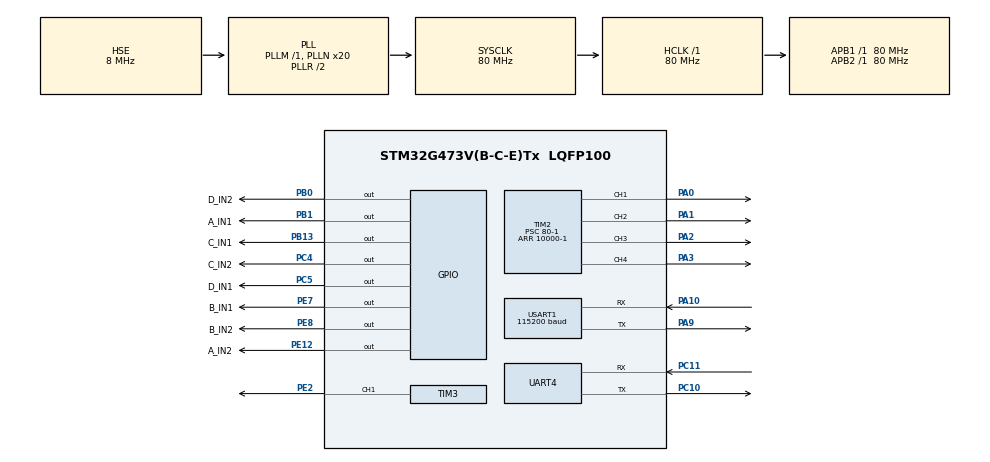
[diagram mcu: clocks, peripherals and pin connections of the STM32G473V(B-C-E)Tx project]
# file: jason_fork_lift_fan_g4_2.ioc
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Mcu.Family=STM32G4
Mcu.Name=STM32G473V(B-C-E)Tx
Mcu.Package=LQFP100
NVIC.PriorityGroup=NVIC_PRIORITYGROUP_4
PA0.Signal=S_TIM2_CH1
PA1.Signal=S_TIM2_CH2
PA10.Mode=Asynchronous
PA10.Signal=USART1_RX
PA13.Mode=Serial_Wire
PA13.Signal=SYS_JTMS-SWDIO
PA14.Mode=Serial_Wire
PA14.Signal=SYS_JTCK-SWCLK
PA2.Signal=S_TIM2_CH3
PA3.Signal=S_TIM2_CH4
PA9.Mode=Asynchronous
PA9.Signal=USART1_TX
PB0.GPIO_Label=D_IN2
PB0.Signal=GPIO_Output
PB1.GPIO_Label=A_IN1
PB1.Signal=GPIO_Output
PB13.GPIO_Label=C_IN1
PB13.Signal=GPIO_Output
PC10.Mode=Asynchronous
PC10.Signal=UART4_TX
PC11.Mode=Asynchronous
PC11.Signal=UART4_RX
PC14-OSC32_IN.Mode=LSE-External-Oscillator
PC14-OSC32_IN.Signal=RCC_OSC32_IN
PC15-OSC32_OUT.Mode=LSE-External-Oscillator
PC15-OSC32_OUT.Signal=RCC_OSC32_OUT
PC4.GPIO_Label=C_IN2
PC4.Signal=GPIO_Output
PC5.GPIO_Label=D_IN1
PC5.Signal=GPIO_Output
PE12.GPIO_Label=A_IN2
PE12.Signal=GPIO_Output
PE2.Signal=S_TIM3_CH1
PE7.GPIO_Label=B_IN1
PE7.Signal=GPIO_Output
PE8.GPIO_Label=B_IN2
PE8.Signal=GPIO_Output
PF0-OSC_IN.Mode=HSE-External-Oscillator
PF0-OSC_IN.Signal=RCC_OSC_IN
PF1-OSC_OUT.Mode=HSE-External-Oscillator
PF1-OSC_OUT.Signal=RCC_OSC_OUT
ProjectManager.HeapSize=0x200
ProjectManager.StackSize=0x400
ProjectManager.TargetToolchain=STM32CubeIDE
RCC.ADC12Freq_Value=80000000
RCC.ADC345Freq_Value=80000000
RCC.AHBFreq_Value=80000000
RCC.APB1Freq_Value=80000000
RCC.APB1TimFreq_Value=80000000
RCC.APB2Freq_Value=80000000
RCC.APB2TimFreq_Value=80000000
RCC.CortexFreq_Value=80000000
RCC.EXTERNAL_CLOCK_VALUE=12288000
RCC.HCLKFreq_Value=80000000
RCC.HSE_VALUE=8000000
RCC.HSI48_VALUE=48000000
RCC.HSI_VALUE=16000000
RCC.PLLN=20
RCC.PLLSourceVirtual=RCC_PLLSOURCE_HSE
RCC.SYSCLKFreq_VALUE=80000000
RCC.SYSCLKSource=RCC_SYSCLKSOURCE_PLLCLK
RCC.USBFreq_Value=80000000
RCC.VCOOutputFreq_Value=160000000
SH.S_TIM2_CH1.0=TIM2_CH1,PWM Generation1 CH1
SH.S_TIM2_CH2.0=TIM2_CH2,PWM Generation2 CH2
SH.S_TIM2_CH3.0=TIM2_CH3,PWM Generation3 CH3
SH.S_TIM2_CH4.0=TIM2_CH4,PWM Generation4 CH4
SH.S_TIM3_CH1.0=TIM3_CH1,PWM Generation1 CH1
TIM2.AutoReloadPreload=TIM_AUTORELOAD_PRELOAD_ENABLE
TIM2.Channel-PWM\ Generation1\ CH1=TIM_CHANNEL_1
TIM2.Channel-PWM\ Generation2\ CH2=TIM_CHANNEL_2
TIM2.Channel-PWM\ Generation3\ CH3=TIM_CHANNEL_3
TIM2.Channel-PWM\ Generation4\ CH4=TIM_CHANNEL_4
TIM2.PeriodNoDither=10000-1
TIM2.Prescaler=80-1
TIM3.AutoReloadPreload=TIM_AUTORELOAD_PRELOAD_ENABLE
TIM3.Channel-PWM\ Generation1\ CH1=TIM_CHANNEL_1
TIM3.PeriodNoDither=20000-1
TIM3.Prescaler=80-1
USART1.BaudRate=115200
USART1.VirtualMode-Asynchronous=VM_ASYNC
VP_SYS_VS_DBSignals.Mode=DisableDeadBatterySignals
VP_TIM2_VS_ClockSourceINT.Mode=Internal
VP_TIM3_VS_ClockSourceINT.Mode=Internal
board=custom

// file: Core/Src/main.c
/* USER CODE BEGIN Header */
/**
 ******************************************************************************
 * @file           : main.c
 * @brief          : Main program body
 ******************************************************************************
 * @attention
 *
 * Copyright (c) 2025 STMicroelectronics.
 * All rights reserved.
 *
 * This software is licensed under terms that can be found in the LICENSE file
 * in the root directory of this software component.
 * If no LICENSE file comes with this software, it is provided AS-IS.
 *
 ******************************************************************************
 */
/* USER CODE END Header */
#include "main.h"
#include "tim.h"
#include "usart.h"
#include "gpio.h"

/* USER CODE BEGIN Includes */
#include "auto_path.h"
#include "communication.h"
#include "controller.h"
#include "mech.h"
#include "movement.h"
#include "robot.h"
#include "servo.h"
#include "string.h"

/* USER CODE END Includes */

/* USER CODE BEGIN PD */
#define TEST 1
/* USER CODE END PD */

/* USER CODE BEGIN PV */
int time_stamp = 0;
int test_var = 0;
char testing = 'r';
/* USER CODE END PV */

void SystemClock_Config(void);

int main(void)
{

  /* MCU Configuration--------------------------------------------------------*/

  /* Reset of all peripherals, Initializes the Flash interface and the Systick. */
  HAL_Init();

  /* Configure the system clock */
  SystemClock_Config();

  /* Initialize all configured peripherals */
  MX_GPIO_Init();
  MX_TIM2_Init();
  MX_TIM3_Init();
  MX_USART1_UART_Init();
  MX_UART4_Init();
  /* USER CODE BEGIN 2 */
  HAL_TIM_PWM_Start(&htim2, TIM_CHANNEL_1);
  HAL_TIM_PWM_Start(&htim2, TIM_CHANNEL_2);
  HAL_TIM_PWM_Start(&htim2, TIM_CHANNEL_3);
  HAL_TIM_PWM_Start(&htim2, TIM_CHANNEL_4);
  HAL_TIM_PWM_Start(&htim3, TIM_CHANNEL_1);

  /* USER CODE END 2 */

  /* Infinite loop */
  while (1) {

    /* USER CODE BEGIN 3 */
    HAL_Delay(1);
#if (TEST == 0)
#else
    // TIM2->CCR1 = 10000 / 2; // 1.65V // PC0
    // TIM2->CCR2 = 10000 / 2; // 1.65V // PC1
    // TIM2->CCR3 = 10000 / 2; // 1.65V // PA2
    // TIM2->CCR4 = 10000 / 2; // 1.65V // PA3

    HAL_UART_Receive(&huart4, &testing, 1, HAL_MAX_DELAY);
    HAL_UART_Transmit(&huart1, &testing, 1, HAL_MAX_DELAY);
    // communication_receive_data(&communication_state);
    // if (communication_state.servo_id1_ccr == 0 &&
    //     communication_state.servo_id2_ccr == 0 &&
    //     communication_state.servo_id3_ccr == 0 &&
    //     communication_state.servo_id4_ccr == 0) {
    //   TIM1->CCR1 = 0;
    //   TIM1->CCR2 = 0;
    //   TIM2->CCR3 = 0;
    //   TIM2->CCR4 = 0;
    // } else {
    //   TIM1->CCR1 = 10000/2;
    //   TIM1->CCR2 = 10000/2;
    //   TIM2->CCR3 = 10000/2;
    //   TIM2->CCR4 = 10000/2;
    // }
#endif
  }
  /* USER CODE END 3 */
}

void SystemClock_Config(void)
{
  RCC_OscInitTypeDef RCC_OscInitStruct = {0};
  RCC_ClkInitTypeDef RCC_ClkInitStruct = {0};

  /** Configure the main internal regulator output voltage
  */
  HAL_PWREx_ControlVoltageScaling(PWR_REGULATOR_VOLTAGE_SCALE1);

  /** Initializes the RCC Oscillators according to the specified parameters
  * in the RCC_OscInitTypeDef structure.
  */
  RCC_OscInitStruct.OscillatorType = RCC_OSCILLATORTYPE_HSE;
  RCC_OscInitStruct.HSEState = RCC_HSE_ON;
  RCC_OscInitStruct.PLL.PLLState = RCC_PLL_ON;
  RCC_OscInitStruct.PLL.PLLSource = RCC_PLLSOURCE_HSE;
  RCC_OscInitStruct.PLL.PLLM = RCC_PLLM_DIV1;
  RCC_OscInitStruct.PLL.PLLN = 20;
  RCC_OscInitStruct.PLL.PLLP = RCC_PLLP_DIV2;
  RCC_OscInitStruct.PLL.PLLQ = RCC_PLLQ_DIV2;
  RCC_OscInitStruct.PLL.PLLR = RCC_PLLR_DIV2;
  if (HAL_RCC_OscConfig(&RCC_OscInitStruct) != HAL_OK)
  {
    Error_Handler();
  }

  /** Initializes the CPU, AHB and APB buses clocks
  */
  RCC_ClkInitStruct.ClockType = RCC_CLOCKTYPE_HCLK|RCC_CLOCKTYPE_SYSCLK
                              |RCC_CLOCKTYPE_PCLK1|RCC_CLOCKTYPE_PCLK2;
  RCC_ClkInitStruct.SYSCLKSource = RCC_SYSCLKSOURCE_PLLCLK;
  RCC_ClkInitStruct.AHBCLKDivider = RCC_SYSCLK_DIV1;
  RCC_ClkInitStruct.APB1CLKDivider = RCC_HCLK_DIV1;
  RCC_ClkInitStruct.APB2CLKDivider = RCC_HCLK_DIV1;

  if (HAL_RCC_ClockConfig(&RCC_ClkInitStruct, FLASH_LATENCY_2) != HAL_OK)
  {
    Error_Handler();
  }
}

void Error_Handler(void)
{
  __disable_irq();
  while (1) {
  }
}
